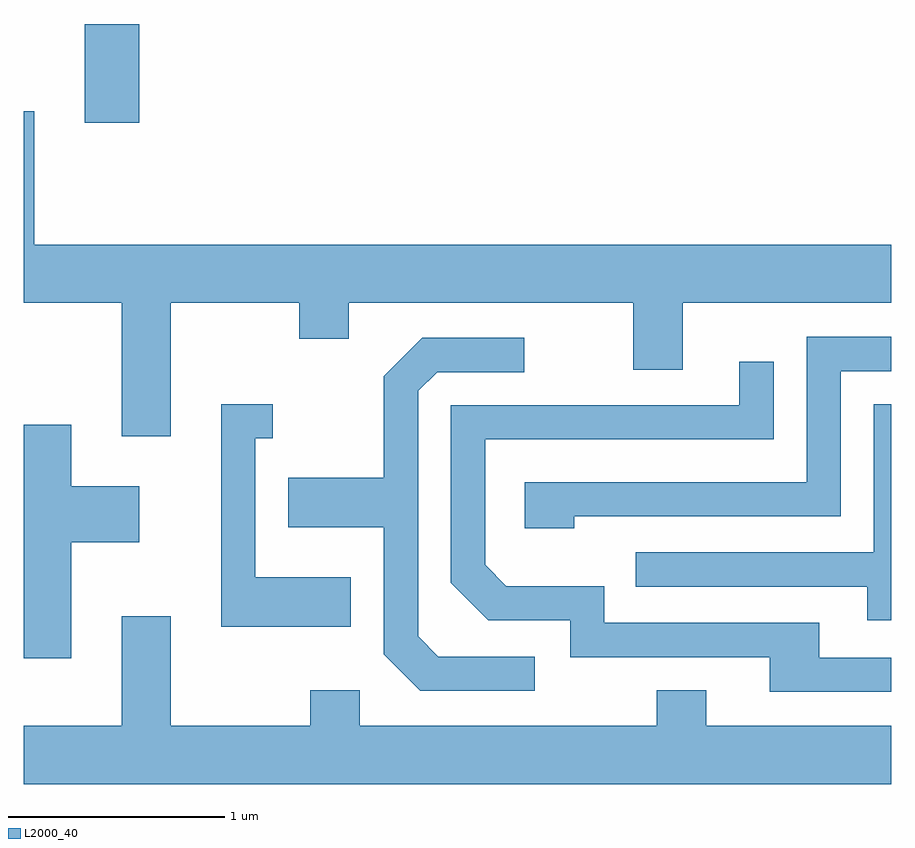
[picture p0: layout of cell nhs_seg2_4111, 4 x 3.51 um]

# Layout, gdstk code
import gdstk
lib = gdstk.Library(unit=1e-6, precision=1e-09)
def R(c, l, rs):  # rectangles x0, y0, x1, y1
    for r in rs: c.add(gdstk.rectangle(r[:2], r[2:], *l))
def P(c, l, *ps):  # polygons
    for p in ps: c.add(gdstk.Polygon(p, *l))
L2000_40 = (2000, 40)

nhs_seg2_4111 = lib.new_cell('nhs_seg2_4111')
R(nhs_seg2_4111, L2000_40, [(305.891,1071.346,306.144,1071.802)])
P(nhs_seg2_4111, L2000_40, [(306.289,1070.516),(306.881,1070.516),(306.881,1070.351),(307.109,1070.351),(307.109,1070.516),(308.421,1070.516),(308.421,1070.206),(308.649,1070.206),(308.649,1070.516),(309.611,1070.516),(309.611,1070.784),(305.659,1070.784),(305.659,1071.399),(305.611,1071.399),(305.611,1070.516),(306.061,1070.516),(306.061,1069.901),(306.289,1069.901)],
  [(308.149,1069.531),(309.379,1069.531),(309.379,1070.201),(309.611,1070.201),(309.611,1070.359),(309.221,1070.359),(309.221,1069.689),(307.921,1069.689),(307.921,1069.476),(308.149,1069.476)],
  [(307.968,1068.884),(307.522,1068.884),(307.429,1068.977),(307.429,1070.109),(307.517,1070.196),(307.918,1070.196),(307.918,1070.354),(307.449,1070.354),(307.271,1070.177),(307.271,1069.709),(306.831,1069.709),(306.831,1069.481),(307.271,1069.481),(307.271,1068.894),(307.439,1068.726),(307.968,1068.726)],
  [(309.611,1068.879),(309.279,1068.879),(309.279,1069.039),(308.289,1069.039),(308.289,1069.209),(307.837,1069.209),(307.739,1069.307),(307.739,1069.886),(309.069,1069.886),(309.069,1070.243),(308.911,1070.243),(308.911,1070.044),(307.581,1070.044),(307.581,1069.224),(307.754,1069.051),(308.131,1069.051),(308.131,1068.881),(309.051,1068.881),(309.051,1068.721),(309.611,1068.721)],
  [(307.119,1069.249),(306.679,1069.249),(306.679,1069.891),(306.758,1069.891),(306.758,1070.049),(306.521,1070.049),(306.521,1069.021),(307.119,1069.021)],
  [(309.611,1070.049),(309.531,1070.049),(309.531,1069.364),(308.433,1069.364),(308.433,1069.206),(309.501,1069.206),(309.501,1069.051),(309.611,1069.051)],
  [(305.829,1069.411),(306.144,1069.411),(306.144,1069.669),(305.829,1069.669),(305.829,1069.954),(305.611,1069.954),(305.611,1068.876),(305.829,1068.876)],
  [(309.611,1068.564),(308.759,1068.564),(308.759,1068.729),(308.531,1068.729),(308.531,1068.564),(307.159,1068.564),(307.159,1068.729),(306.931,1068.729),(306.931,1068.564),(306.289,1068.564),(306.289,1069.069),(306.061,1069.069),(306.061,1068.564),(305.611,1068.564),(305.611,1068.296),(309.611,1068.296)])

lib.write_gds('nhs_seg2_4111.gds')
